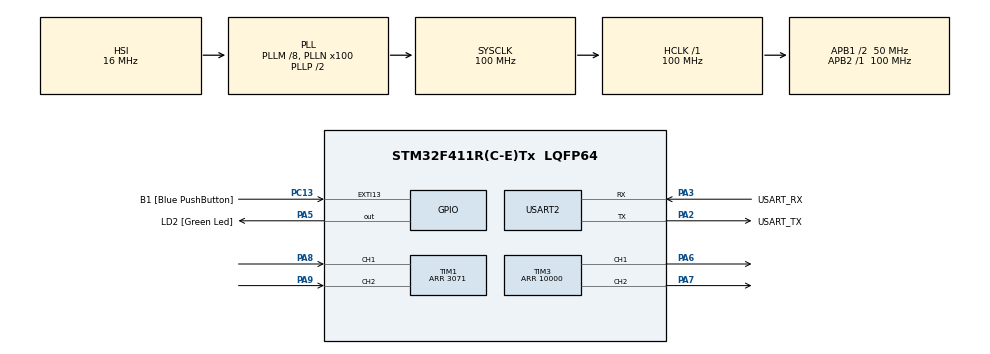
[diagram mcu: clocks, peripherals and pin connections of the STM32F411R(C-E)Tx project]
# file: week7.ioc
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Mcu.Family=STM32F4
PC15-OSC32_OUT.Mode=LSE-External-Oscillator
RCC.CortexFreq_Value=100000000
PC13-ANTI_TAMP.GPIO_Label=B1 [Blue PushButton]
PA14.GPIO_Label=TCK
PH1\ -\ OSC_OUT.Mode=HSE-External-Clock-Source
RCC.APB1CLKDivider=RCC_HCLK_DIV2
PC14-OSC32_IN.Signal=RCC_OSC32_IN
RCC.SYSCLKSource=RCC_SYSCLKSOURCE_PLLCLK
ProjectManager.StackSize=0x400
PA3.Mode=Asynchronous
PA13.Signal=SYS_JTMS-SWDIO
PH0\ -\ OSC_IN.Mode=HSE-External-Clock-Source
SH.S_TIM1_CH1.0=TIM1_CH1,Encoder_Interface
PH0\ -\ OSC_IN.Signal=RCC_OSC_IN
ProjectManager.TargetToolchain=STM32CubeIDE
RCC.HCLKFreq_Value=100000000
RCC.APB2TimFreq_Value=100000000
TIM3.Period=10000
PA9.Signal=S_TIM1_CH2
PC15-OSC32_OUT.Signal=RCC_OSC32_OUT
RCC.AHBFreq_Value=100000000
TIM3.Channel-PWM\ Generation1\ CH1=TIM_CHANNEL_1
PA5.Signal=GPIO_Output
SH.S_TIM3_CH2.0=TIM3_CH2,PWM Generation2 CH2
RCC.HSE_VALUE=8000000
PH1\ -\ OSC_OUT.Signal=RCC_OSC_OUT
board=NUCLEO-F411RE
PC13-ANTI_TAMP.Signal=GPXTI13
RCC.VCOOutputFreq_Value=200000000
RCC.APB2Freq_Value=100000000
PC14-OSC32_IN.Mode=LSE-External-Oscillator
SH.S_TIM1_CH2.0=TIM1_CH2,Encoder_Interface
VP_TIM2_VS_ClockSourceINT.Mode=Internal
PA14.Mode=Serial_Wire
NVIC.TIM2_IRQn=true\:0\:0\:false\:false\:true\:true\:true
PA8.Signal=S_TIM1_CH1
SH.S_TIM3_CH1.0=TIM3_CH1,PWM Generation1 CH1
PA13.Mode=Serial_Wire
Mcu.Name=STM32F411R(C-E)Tx
PA2.Signal=USART2_TX
PA13.GPIO_Label=TMS
RCC.FLatency-AdvancedSettings=FLASH_LATENCY_3
RCC.48MHZClocksFreq_Value=50000000
PB3.Signal=SYS_JTDO-SWO
RCC.SYSCLKFreq_VALUE=100000000
Mcu.Package=LQFP64
TIM2.Prescaler=99
PA6.Signal=S_TIM3_CH1
PA5.GPIO_Label=LD2 [Green Led]
USART2.VirtualMode=VM_ASYNC
PC13-ANTI_TAMP.GPIO_ModeDefaultEXTI=GPIO_MODE_IT_FALLING
PA2.GPIO_Label=USART_TX
PA14.Signal=SYS_JTCK-SWCLK
ProjectManager.HeapSize=0x200
RCC.HSI_VALUE=16000000
NVIC.PriorityGroup=NVIC_PRIORITYGROUP_0
TIM3.Channel-PWM\ Generation2\ CH2=TIM_CHANNEL_2
RCC.PLLM=8
RCC.PLLN=100
RCC.APB1TimFreq_Value=100000000
PA2.Mode=Asynchronous
TIM1.Period=3071
RCC.APB1Freq_Value=50000000
VP_TIM3_VS_ClockSourceINT.Mode=Internal
PA3.GPIO_Label=USART_RX
PA3.Signal=USART2_RX
PA7.Signal=S_TIM3_CH2
PB3.GPIO_Label=SWO

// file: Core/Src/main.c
/* USER CODE BEGIN Header */
/**
 ******************************************************************************
 * @file           : main.c
 * @brief          : Main program body
 ******************************************************************************
 * @attention
 *
 * <h2><center>&copy; Copyright (c) 2021 STMicroelectronics.
 * All rights reserved.</center></h2>
 *
 * This software component is licensed by ST under BSD 3-Clause license,
 * the "License"; You may not use this file except in compliance with the
 * License. You may obtain a copy of the License at:
 *                        opensource.org/licenses/BSD-3-Clause
 *
 ******************************************************************************
 */
/* USER CODE END Header */
#include "main.h"

TIM_HandleTypeDef htim1;
TIM_HandleTypeDef htim2;
TIM_HandleTypeDef htim3;

UART_HandleTypeDef huart2;

/* USER CODE BEGIN PV */
uint64_t _micros = 0;
float EncoderVelo = 0;
float RPMEncoder;
int RPMIn;
float Error;
float Last_Error;
float Integral_Error;
float Kp;
float Ki;
float Kd;
uint64_t Timestamp_Encoder = 0;
uint16_t PWMOut = 3000;
/* USER CODE END PV */

void SystemClock_Config(void);
static void MX_GPIO_Init(void);
static void MX_USART2_UART_Init(void);
static void MX_TIM1_Init(void);
static void MX_TIM2_Init(void);
static void MX_TIM3_Init(void);
/* USER CODE BEGIN PFP */
uint64_t micros();
float EncoderVelocity_Update();

/* USER CODE END PFP */

int main(void)
{

  /* MCU Configuration--------------------------------------------------------*/

  /* Reset of all peripherals, Initializes the Flash interface and the Systick. */
  HAL_Init();

  /* Configure the system clock */
  SystemClock_Config();

  /* Initialize all configured peripherals */
  MX_GPIO_Init();
  MX_USART2_UART_Init();
  MX_TIM1_Init();
  MX_TIM2_Init();
  MX_TIM3_Init();
  /* USER CODE BEGIN 2 */
	HAL_TIM_Base_Start_IT(&htim2);
	HAL_TIM_Encoder_Start(&htim1, TIM_CHANNEL_ALL);
	HAL_TIM_Base_Start(&htim3);
	HAL_TIM_PWM_Start(&htim3, TIM_CHANNEL_1);
	HAL_TIM_PWM_Start(&htim3, TIM_CHANNEL_2);
  /* USER CODE END 2 */

  /* Infinite loop */
	while (1)
	{

    /* USER CODE BEGIN 3 */

		//RAW Read
//		if (micros() - Timestamp_Encoder >= 1000)
//		{
//			Timestamp_Encoder = micros();
//			EncoderVel = EncoderVelocity_Update();
//		}

		//1 Khz loop
		//Add LPF?
		if (micros() - Timestamp_Encoder >= 1000)
		{
			Timestamp_Encoder = micros();
			EncoderVelo = (EncoderVelo * 99 + EncoderVelocity_Update()) / 100.0;
			//RPM(Round per min)
			RPMEncoder = ((RPMEncoder*99) + (EncoderVelo*60)/3072)/100.0;

			if(RPMIn > 0)
			{
				Error = RPMIn - RPMEncoder;
			}
			else
			{
				Error = (RPMIn - RPMEncoder)*(-1);
			}
			Integral_Error +=Error;
			PWMOut = (Kp*Error)+(Ki*Integral_Error)+(Kd*(Error-Last_Error));
			Last_Error = Error;

			if(RPMIn>0)
			{
				__HAL_TIM_SET_COMPARE(&htim3,TIM_CHANNEL_1,10000);
				__HAL_TIM_SET_COMPARE(&htim3,TIM_CHANNEL_2,0);
			}
			else if(RPMIn<0)
			{
				__HAL_TIM_SET_COMPARE(&htim3,TIM_CHANNEL_2,PWMOut);
				__HAL_TIM_SET_COMPARE(&htim3,TIM_CHANNEL_1,0);
			}
			else
			{
				__HAL_TIM_SET_COMPARE(&htim3,TIM_CHANNEL_2,0);
				__HAL_TIM_SET_COMPARE(&htim3,TIM_CHANNEL_1,0);
			}
		}

	}
  /* USER CODE END 3 */
}

void SystemClock_Config(void)
{
  RCC_OscInitTypeDef RCC_OscInitStruct = {0};
  RCC_ClkInitTypeDef RCC_ClkInitStruct = {0};

  /** Configure the main internal regulator output voltage
  */
  __HAL_RCC_PWR_CLK_ENABLE();
  __HAL_PWR_VOLTAGESCALING_CONFIG(PWR_REGULATOR_VOLTAGE_SCALE1);
  /** Initializes the RCC Oscillators according to the specified parameters
  * in the RCC_OscInitTypeDef structure.
  */
  RCC_OscInitStruct.OscillatorType = RCC_OSCILLATORTYPE_HSI;
  RCC_OscInitStruct.HSIState = RCC_HSI_ON;
  RCC_OscInitStruct.HSICalibrationValue = RCC_HSICALIBRATION_DEFAULT;
  RCC_OscInitStruct.PLL.PLLState = RCC_PLL_ON;
  RCC_OscInitStruct.PLL.PLLSource = RCC_PLLSOURCE_HSI;
  RCC_OscInitStruct.PLL.PLLM = 8;
  RCC_OscInitStruct.PLL.PLLN = 100;
  RCC_OscInitStruct.PLL.PLLP = RCC_PLLP_DIV2;
  RCC_OscInitStruct.PLL.PLLQ = 4;
  if (HAL_RCC_OscConfig(&RCC_OscInitStruct) != HAL_OK)
  {
    Error_Handler();
  }
  /** Initializes the CPU, AHB and APB buses clocks
  */
  RCC_ClkInitStruct.ClockType = RCC_CLOCKTYPE_HCLK|RCC_CLOCKTYPE_SYSCLK
                              |RCC_CLOCKTYPE_PCLK1|RCC_CLOCKTYPE_PCLK2;
  RCC_ClkInitStruct.SYSCLKSource = RCC_SYSCLKSOURCE_PLLCLK;
  RCC_ClkInitStruct.AHBCLKDivider = RCC_SYSCLK_DIV1;
  RCC_ClkInitStruct.APB1CLKDivider = RCC_HCLK_DIV2;
  RCC_ClkInitStruct.APB2CLKDivider = RCC_HCLK_DIV1;

  if (HAL_RCC_ClockConfig(&RCC_ClkInitStruct, FLASH_LATENCY_3) != HAL_OK)
  {
    Error_Handler();
  }
}

static void MX_TIM1_Init(void)
{

  TIM_Encoder_InitTypeDef sConfig = {0};
  TIM_MasterConfigTypeDef sMasterConfig = {0};

  htim1.Instance = TIM1;
  htim1.Init.Prescaler = 0;
  htim1.Init.CounterMode = TIM_COUNTERMODE_UP;
  htim1.Init.Period = 3071;
  htim1.Init.ClockDivision = TIM_CLOCKDIVISION_DIV1;
  htim1.Init.RepetitionCounter = 0;
  htim1.Init.AutoReloadPreload = TIM_AUTORELOAD_PRELOAD_DISABLE;
  sConfig.EncoderMode = TIM_ENCODERMODE_TI1;
  sConfig.IC1Polarity = TIM_ICPOLARITY_RISING;
  sConfig.IC1Selection = TIM_ICSELECTION_DIRECTTI;
  sConfig.IC1Prescaler = TIM_ICPSC_DIV1;
  sConfig.IC1Filter = 0;
  sConfig.IC2Polarity = TIM_ICPOLARITY_RISING;
  sConfig.IC2Selection = TIM_ICSELECTION_DIRECTTI;
  sConfig.IC2Prescaler = TIM_ICPSC_DIV1;
  sConfig.IC2Filter = 0;
  if (HAL_TIM_Encoder_Init(&htim1, &sConfig) != HAL_OK)
  {
    Error_Handler();
  }
  sMasterConfig.MasterOutputTrigger = TIM_TRGO_RESET;
  sMasterConfig.MasterSlaveMode = TIM_MASTERSLAVEMODE_DISABLE;
  if (HAL_TIMEx_MasterConfigSynchronization(&htim1, &sMasterConfig) != HAL_OK)
  {
    Error_Handler();
  }

}

static void MX_TIM2_Init(void)
{

  TIM_ClockConfigTypeDef sClockSourceConfig = {0};
  TIM_MasterConfigTypeDef sMasterConfig = {0};

  htim2.Instance = TIM2;
  htim2.Init.Prescaler = 99;
  htim2.Init.CounterMode = TIM_COUNTERMODE_UP;
  htim2.Init.Period = 4294967295;
  htim2.Init.ClockDivision = TIM_CLOCKDIVISION_DIV1;
  htim2.Init.AutoReloadPreload = TIM_AUTORELOAD_PRELOAD_DISABLE;
  if (HAL_TIM_Base_Init(&htim2) != HAL_OK)
  {
    Error_Handler();
  }
  sClockSourceConfig.ClockSource = TIM_CLOCKSOURCE_INTERNAL;
  if (HAL_TIM_ConfigClockSource(&htim2, &sClockSourceConfig) != HAL_OK)
  {
    Error_Handler();
  }
  sMasterConfig.MasterOutputTrigger = TIM_TRGO_RESET;
  sMasterConfig.MasterSlaveMode = TIM_MASTERSLAVEMODE_DISABLE;
  if (HAL_TIMEx_MasterConfigSynchronization(&htim2, &sMasterConfig) != HAL_OK)
  {
    Error_Handler();
  }

}

static void MX_TIM3_Init(void)
{

  TIM_ClockConfigTypeDef sClockSourceConfig = {0};
  TIM_MasterConfigTypeDef sMasterConfig = {0};
  TIM_OC_InitTypeDef sConfigOC = {0};

  htim3.Instance = TIM3;
  htim3.Init.Prescaler = 0;
  htim3.Init.CounterMode = TIM_COUNTERMODE_UP;
  htim3.Init.Period = 10000;
  htim3.Init.ClockDivision = TIM_CLOCKDIVISION_DIV1;
  htim3.Init.AutoReloadPreload = TIM_AUTORELOAD_PRELOAD_DISABLE;
  if (HAL_TIM_Base_Init(&htim3) != HAL_OK)
  {
    Error_Handler();
  }
  sClockSourceConfig.ClockSource = TIM_CLOCKSOURCE_INTERNAL;
  if (HAL_TIM_ConfigClockSource(&htim3, &sClockSourceConfig) != HAL_OK)
  {
    Error_Handler();
  }
  if (HAL_TIM_PWM_Init(&htim3) != HAL_OK)
  {
    Error_Handler();
  }
  sMasterConfig.MasterOutputTrigger = TIM_TRGO_RESET;
  sMasterConfig.MasterSlaveMode = TIM_MASTERSLAVEMODE_DISABLE;
  if (HAL_TIMEx_MasterConfigSynchronization(&htim3, &sMasterConfig) != HAL_OK)
  {
    Error_Handler();
  }
  sConfigOC.OCMode = TIM_OCMODE_PWM1;
  sConfigOC.Pulse = 0;
  sConfigOC.OCPolarity = TIM_OCPOLARITY_HIGH;
  sConfigOC.OCFastMode = TIM_OCFAST_DISABLE;
  if (HAL_TIM_PWM_ConfigChannel(&htim3, &sConfigOC, TIM_CHANNEL_1) != HAL_OK)
  {
    Error_Handler();
  }
  if (HAL_TIM_PWM_ConfigChannel(&htim3, &sConfigOC, TIM_CHANNEL_2) != HAL_OK)
  {
    Error_Handler();
  }
  HAL_TIM_MspPostInit(&htim3);

}

static void MX_USART2_UART_Init(void)
{

  huart2.Instance = USART2;
  huart2.Init.BaudRate = 115200;
  huart2.Init.WordLength = UART_WORDLENGTH_8B;
  huart2.Init.StopBits = UART_STOPBITS_1;
  huart2.Init.Parity = UART_PARITY_NONE;
  huart2.Init.Mode = UART_MODE_TX_RX;
  huart2.Init.HwFlowCtl = UART_HWCONTROL_NONE;
  huart2.Init.OverSampling = UART_OVERSAMPLING_16;
  if (HAL_UART_Init(&huart2) != HAL_OK)
  {
    Error_Handler();
  }

}

static void MX_GPIO_Init(void)
{
  GPIO_InitTypeDef GPIO_InitStruct = {0};

  /* GPIO Ports Clock Enable */
  __HAL_RCC_GPIOC_CLK_ENABLE();
  __HAL_RCC_GPIOH_CLK_ENABLE();
  __HAL_RCC_GPIOA_CLK_ENABLE();
  __HAL_RCC_GPIOB_CLK_ENABLE();

  /*Configure GPIO pin Output Level */
  HAL_GPIO_WritePin(LD2_GPIO_Port, LD2_Pin, GPIO_PIN_RESET);

  /*Configure GPIO pin : B1_Pin */
  GPIO_InitStruct.Pin = B1_Pin;
  GPIO_InitStruct.Mode = GPIO_MODE_IT_FALLING;
  GPIO_InitStruct.Pull = GPIO_NOPULL;
  HAL_GPIO_Init(B1_GPIO_Port, &GPIO_InitStruct);

  /*Configure GPIO pin : LD2_Pin */
  GPIO_InitStruct.Pin = LD2_Pin;
  GPIO_InitStruct.Mode = GPIO_MODE_OUTPUT_PP;
  GPIO_InitStruct.Pull = GPIO_NOPULL;
  GPIO_InitStruct.Speed = GPIO_SPEED_FREQ_LOW;
  HAL_GPIO_Init(LD2_GPIO_Port, &GPIO_InitStruct);

}

/* USER CODE BEGIN 4 */
#define  HTIM_ENCODER htim1
#define  MAX_SUBPOSITION_OVERFLOW 1536
#define  MAX_ENCODER_PERIOD 3072

float EncoderVelocity_Update()
{
	//Save Last state
	static uint32_t EncoderLastPosition = 0;
	static uint64_t EncoderLastTimestamp = 0;

	//read data
	uint32_t EncoderNowPosition = HTIM_ENCODER.Instance->CNT;
	uint64_t EncoderNowTimestamp = micros();

	int32_t EncoderPositionDiff;
	uint64_t EncoderTimeDiff;

	EncoderTimeDiff = EncoderNowTimestamp - EncoderLastTimestamp;
	EncoderPositionDiff = EncoderNowPosition - EncoderLastPosition;

	//compensate overflow and underflow
	if (EncoderPositionDiff >= MAX_SUBPOSITION_OVERFLOW)
	{
		EncoderPositionDiff -= MAX_ENCODER_PERIOD;
	}
	else if (-EncoderPositionDiff >= MAX_SUBPOSITION_OVERFLOW)
	{
		EncoderPositionDiff += MAX_ENCODER_PERIOD;
	}

	//Update Position and time
	EncoderLastPosition = EncoderNowPosition;
	EncoderLastTimestamp = EncoderNowTimestamp;

	//Calculate velocity
	//EncoderTimeDiff is in uS
	//pulse per sec
	return (EncoderPositionDiff * 1000000) / (float) EncoderTimeDiff;

}

void HAL_TIM_PeriodElapsedCallback(TIM_HandleTypeDef *htim)
{
	if (htim == &htim2)
	{
		_micros += 4294967295;
	}
}
uint64_t micros()
{
	return _micros + htim2.Instance->CNT;
}
/* USER CODE END 4 */

void Error_Handler(void)
{
	__disable_irq();
	while (1)
	{
	}
}

/************************ (C) COPYRIGHT STMicroelectronics *****END OF FILE****/
